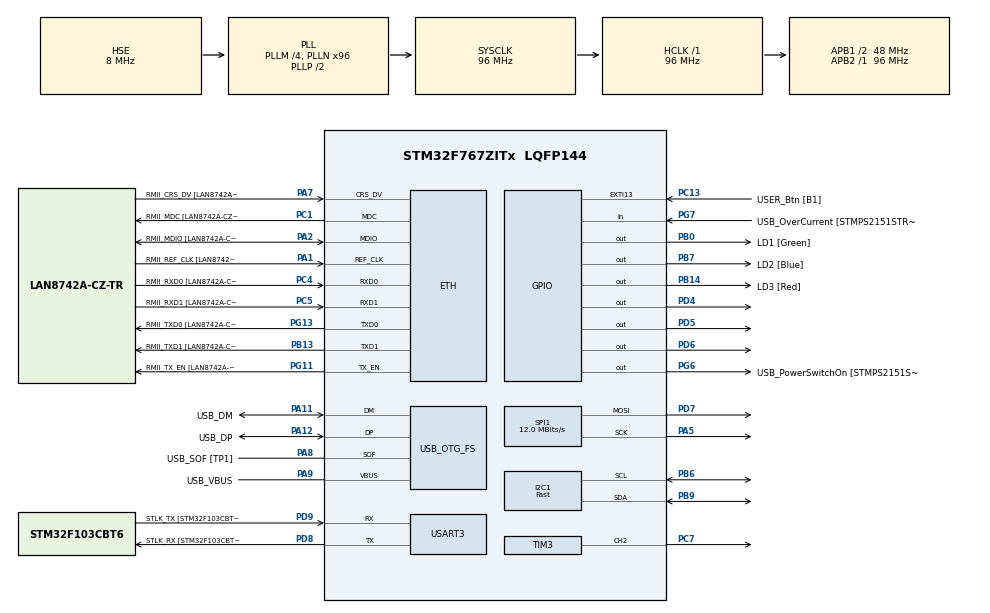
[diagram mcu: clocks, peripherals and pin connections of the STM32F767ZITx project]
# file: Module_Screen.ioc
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ETH.MediaInterface=ETH_MEDIA_INTERFACE_RMII
ETH.PHY_Name=LAN8742A_PHY_ADDRESS
ETH.PHY_Value=0
ETH.PhyAddress=0
I2C1.I2C_Speed_Mode=I2C_Fast
I2C1.Speed=150
I2C1.Timing=0x004036FF
Mcu.Family=STM32F7
Mcu.Name=STM32F767ZITx
Mcu.Package=LQFP144
NVIC.PriorityGroup=NVIC_PRIORITYGROUP_4
PA1.GPIO_Label=RMII_REF_CLK [LAN8742A-CZ-TR_REFCLK0]
PA1.Mode=RMII
PA1.Signal=ETH_REF_CLK
PA10.GPIO_Label=USB_ID
PA10.Signal=USB_OTG_FS_ID
PA11.GPIO_Label=USB_DM
PA11.Mode=Device_Only
PA11.Signal=USB_OTG_FS_DM
PA12.GPIO_Label=USB_DP
PA12.Mode=Device_Only
PA12.Signal=USB_OTG_FS_DP
PA13.GPIO_Label=TMS
PA13.Mode=Serial_Wire
PA13.Signal=SYS_JTMS-SWDIO
PA14.GPIO_Label=TCK
PA14.Mode=Serial_Wire
PA14.Signal=SYS_JTCK-SWCLK
PA2.GPIO_Label=RMII_MDIO [LAN8742A-CZ-TR_MDIO]
PA2.Mode=RMII
PA2.Signal=ETH_MDIO
PA5.Mode=TX_Only_Simplex_Unidirect_Master
PA5.Signal=SPI1_SCK
PA7.GPIO_Label=RMII_CRS_DV [LAN8742A-CZ-TR_CRS_DV]
PA7.Mode=RMII
PA7.Signal=ETH_CRS_DV
PA8.GPIO_Label=USB_SOF [TP1]
PA8.Mode=Activate_SOF_FS
PA8.Signal=USB_OTG_FS_SOF
PA9.GPIO_Label=USB_VBUS
PA9.Mode=Activate_VBUS
PA9.Signal=USB_OTG_FS_VBUS
PB0.GPIO_Label=LD1 [Green]
PB0.Signal=GPIO_Output
PB13.GPIO_Label=RMII_TXD1 [LAN8742A-CZ-TR_TXD1]
PB13.Mode=RMII
PB13.Signal=ETH_TXD1
PB14.GPIO_Label=LD3 [Red]
PB14.Signal=GPIO_Output
PB3.GPIO_Label=SWO
PB3.Signal=SYS_JTDO-SWO
PB6.Mode=I2C
PB6.Signal=I2C1_SCL
PB7.GPIO_Label=LD2 [Blue]
PB7.Signal=GPIO_Output
PB9.Mode=I2C
PB9.Signal=I2C1_SDA
PC1.GPIO_Label=RMII_MDC [LAN8742A-CZ-TR_MDC]
PC1.Mode=RMII
PC1.Signal=ETH_MDC
PC13.GPIO_Label=USER_Btn [B1]
PC13.Signal=GPXTI13
PC14/OSC32_IN.Mode=LSE-External-Oscillator
PC14/OSC32_IN.Signal=RCC_OSC32_IN
PC15/OSC32_OUT.Mode=LSE-External-Oscillator
PC15/OSC32_OUT.Signal=RCC_OSC32_OUT
PC4.GPIO_Label=RMII_RXD0 [LAN8742A-CZ-TR_RXD0]
PC4.Mode=RMII
PC4.Signal=ETH_RXD0
PC5.GPIO_Label=RMII_RXD1 [LAN8742A-CZ-TR_RXD1]
PC5.Mode=RMII
PC5.Signal=ETH_RXD1
PC7.Signal=S_TIM3_CH2
PD4.Signal=GPIO_Output
PD5.Signal=GPIO_Output
PD6.Signal=GPIO_Output
PD7.Mode=TX_Only_Simplex_Unidirect_Master
PD7.Signal=SPI1_MOSI
PD8.GPIO_Label=STLK_RX [STM32F103CBT6_PA3]
PD8.Mode=Asynchronous
PD8.Signal=USART3_TX
PD9.GPIO_Label=STLK_TX [STM32F103CBT6_PA2]
PD9.Mode=Asynchronous
PD9.Signal=USART3_RX
PG11.GPIO_Label=RMII_TX_EN [LAN8742A-CZ-TR_TXEN]
PG11.Mode=RMII
PG11.Signal=ETH_TX_EN
PG13.GPIO_Label=RMII_TXD0 [LAN8742A-CZ-TR_TXD0]
PG13.Mode=RMII
PG13.Signal=ETH_TXD0
PG6.GPIO_Label=USB_PowerSwitchOn [STMPS2151STR_EN]
PG6.Signal=GPIO_Output
PG7.GPIO_Label=USB_OverCurrent [STMPS2151STR_FAULT]
PG7.Signal=GPIO_Input
PH0/OSC_IN.GPIO_Label=MCO [STM32F103CBT6_PA8]
PH0/OSC_IN.Mode=HSE-External-Clock-Source
PH0/OSC_IN.Signal=RCC_OSC_IN
PH1/OSC_OUT.Mode=HSE-External-Clock-Source
PH1/OSC_OUT.Signal=RCC_OSC_OUT
ProjectManager.HeapSize=0x200
ProjectManager.StackSize=0x400
ProjectManager.TargetToolchain=STM32CubeIDE
RCC.48MHZClocksFreq_Value=24000000
RCC.AHBFreq_Value=96000000
RCC.APB1CLKDivider=RCC_HCLK_DIV2
RCC.APB1Freq_Value=48000000
RCC.APB1TimFreq_Value=96000000
RCC.APB2Freq_Value=96000000
RCC.APB2TimFreq_Value=96000000
RCC.CortexFreq_Value=96000000
RCC.HCLKFreq_Value=96000000
RCC.HSE_VALUE=8000000
RCC.HSI_VALUE=16000000
RCC.PLLM=4
RCC.PLLMUL=RCC_PLL_MUL9
RCC.PLLN=96
RCC.PLLQ=4
RCC.PRESCALERUSB=RCC_USBCLKSOURCE_PLL_DIV1_5
RCC.SYSCLKFreq_VALUE=96000000
RCC.SYSCLKSource=RCC_SYSCLKSOURCE_PLLCLK
RCC.SYSCLKSourceVirtual=RCC_SYSCLKSOURCE_PLLCLK
RCC.USBFreq_Value=48000000
RCC.VCOOutputFreq_Value=192000000
SH.S_TIM3_CH2.0=TIM3_CH2,PWM Generation2 CH2
SPI1.BaudRatePrescaler=SPI_BAUDRATEPRESCALER_8
SPI1.CalculateBaudRate=12.0 MBits/s
SPI1.DataSize=SPI_DATASIZE_8BIT
SPI1.Direction=SPI_DIRECTION_2LINES
SPI1.FirstBit=SPI_FIRSTBIT_MSB
SPI1.Mode=SPI_MODE_MASTER
SPI1.VirtualType=VM_MASTER
TIM3.Channel-PWM\ Generation2\ CH2=TIM_CHANNEL_2
USART3.VirtualMode-Asynchronous=VM_ASYNC
USB_OTG_FS.VirtualMode=Device_Only
board=NUCLEO-F767ZI

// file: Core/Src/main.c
/* USER CODE BEGIN Header */
/**
  ******************************************************************************
  * @file           : main.c
  * @brief          : Main program body
  ******************************************************************************
  * @attention
  *
  * <h2><center>&copy; Copyright (c) 2020 STMicroelectronics.
  * All rights reserved.</center></h2>
  *
  * This software component is licensed by ST under BSD 3-Clause license,
  * the "License"; You may not use this file except in compliance with the
  * License. You may obtain a copy of the License at:
  *                        opensource.org/licenses/BSD-3-Clause
  *
  ******************************************************************************
  */
/* USER CODE END Header */
#include "main.h"

/* USER CODE BEGIN Includes */
#include "../User/GUI_DEV/GUI_Paint.h"
#include "../User/Fonts/fonts.h"
#include "../User/image/image.h"
#include "../User/LCD/LCD_1in28.h"
#include "../User/example/LCD_Test.h"
/* USER CODE END Includes */

/* USER CODE BEGIN PD */
#define ADDR_SPI_I2C (0x50)
/* USER CODE END PD */

ETH_HandleTypeDef heth;

I2C_HandleTypeDef hi2c1;

SPI_HandleTypeDef hspi1;

TIM_HandleTypeDef htim3;

UART_HandleTypeDef huart3;

PCD_HandleTypeDef hpcd_USB_OTG_FS;

void SystemClock_Config(void);
static void MX_GPIO_Init(void);
static void MX_ETH_Init(void);
static void MX_USART3_UART_Init(void);
static void MX_USB_OTG_FS_PCD_Init(void);
static void MX_SPI1_Init(void);
static void MX_TIM3_Init(void);
static void MX_I2C1_Init(void);

int main(void)
{

  /* MCU Configuration--------------------------------------------------------*/

  /* Reset of all peripherals, Initializes the Flash interface and the Systick. */
  HAL_Init();

  /* Configure the system clock */
  SystemClock_Config();

  /* Initialize all configured peripherals */
  MX_GPIO_Init();
  MX_ETH_Init();
  MX_USART3_UART_Init();
  MX_USB_OTG_FS_PCD_Init();
  MX_SPI1_Init();
  MX_TIM3_Init();
  MX_I2C1_Init();
  /* USER CODE BEGIN 2 */

  uint8_t buffer[2];

  LCD_1IN28_SendCommand(0x28);
  buffer[0] = 0xF0;
  buffer[1] = 0x00;
  HAL_I2C_Master_Transmit(&hi2c1, ADDR_SPI_I2C, buffer, 2, 0xFFFFFF);
  LCD_1in28_test_I2C();

  LCD_1IN28_Display(gImage_monaLCD);

  /* USER CODE END 2 */

  /* Infinite loop */
  /* USER CODE BEGIN WHILE */
  while (1)
  {

	  HAL_Delay(100);
	  LCD_1IN28_SendCommand(0x29);  //MAKE THE SCREEN BLINK
	  HAL_Delay(100);

	  LCD_1IN28_SendCommand(0x28);
	  HAL_Delay(100);
    /* USER CODE END WHILE */

  }
}

void SystemClock_Config(void)
{
  RCC_OscInitTypeDef RCC_OscInitStruct = {0};
  RCC_ClkInitTypeDef RCC_ClkInitStruct = {0};

  /** Configure LSE Drive Capability
  */
  HAL_PWR_EnableBkUpAccess();
  /** Configure the main internal regulator output voltage
  */
  __HAL_RCC_PWR_CLK_ENABLE();
  __HAL_PWR_VOLTAGESCALING_CONFIG(PWR_REGULATOR_VOLTAGE_SCALE3);
  /** Initializes the RCC Oscillators according to the specified parameters
  * in the RCC_OscInitTypeDef structure.
  */
  RCC_OscInitStruct.OscillatorType = RCC_OSCILLATORTYPE_HSE;
  RCC_OscInitStruct.HSEState = RCC_HSE_BYPASS;
  RCC_OscInitStruct.PLL.PLLState = RCC_PLL_ON;
  RCC_OscInitStruct.PLL.PLLSource = RCC_PLLSOURCE_HSE;
  RCC_OscInitStruct.PLL.PLLM = 4;
  RCC_OscInitStruct.PLL.PLLN = 96;
  RCC_OscInitStruct.PLL.PLLP = RCC_PLLP_DIV2;
  RCC_OscInitStruct.PLL.PLLQ = 4;
  RCC_OscInitStruct.PLL.PLLR = 2;
  if (HAL_RCC_OscConfig(&RCC_OscInitStruct) != HAL_OK)
  {
    Error_Handler();
  }
  /** Activate the Over-Drive mode
  */
  if (HAL_PWREx_EnableOverDrive() != HAL_OK)
  {
    Error_Handler();
  }
  /** Initializes the CPU, AHB and APB buses clocks
  */
  RCC_ClkInitStruct.ClockType = RCC_CLOCKTYPE_HCLK|RCC_CLOCKTYPE_SYSCLK
                              |RCC_CLOCKTYPE_PCLK1|RCC_CLOCKTYPE_PCLK2;
  RCC_ClkInitStruct.SYSCLKSource = RCC_SYSCLKSOURCE_PLLCLK;
  RCC_ClkInitStruct.AHBCLKDivider = RCC_SYSCLK_DIV1;
  RCC_ClkInitStruct.APB1CLKDivider = RCC_HCLK_DIV2;
  RCC_ClkInitStruct.APB2CLKDivider = RCC_HCLK_DIV1;

  if (HAL_RCC_ClockConfig(&RCC_ClkInitStruct, FLASH_LATENCY_3) != HAL_OK)
  {
    Error_Handler();
  }
}

static void MX_ETH_Init(void)
{

   static uint8_t MACAddr[6];

  heth.Instance = ETH;
  heth.Init.AutoNegotiation = ETH_AUTONEGOTIATION_ENABLE;
  heth.Init.Speed = ETH_SPEED_100M;
  heth.Init.DuplexMode = ETH_MODE_FULLDUPLEX;
  heth.Init.PhyAddress = LAN8742A_PHY_ADDRESS;
  MACAddr[0] = 0x00;
  MACAddr[1] = 0x80;
  MACAddr[2] = 0xE1;
  MACAddr[3] = 0x00;
  MACAddr[4] = 0x00;
  MACAddr[5] = 0x00;
  heth.Init.MACAddr = &MACAddr[0];
  heth.Init.RxMode = ETH_RXPOLLING_MODE;
  heth.Init.ChecksumMode = ETH_CHECKSUM_BY_HARDWARE;
  heth.Init.MediaInterface = ETH_MEDIA_INTERFACE_RMII;

  if (HAL_ETH_Init(&heth) != HAL_OK)
  {
    Error_Handler();
  }

}

static void MX_I2C1_Init(void)
{

  hi2c1.Instance = I2C1;
  hi2c1.Init.Timing = 0x004036FF;
  hi2c1.Init.OwnAddress1 = 0;
  hi2c1.Init.AddressingMode = I2C_ADDRESSINGMODE_7BIT;
  hi2c1.Init.DualAddressMode = I2C_DUALADDRESS_DISABLE;
  hi2c1.Init.OwnAddress2 = 0;
  hi2c1.Init.OwnAddress2Masks = I2C_OA2_NOMASK;
  hi2c1.Init.GeneralCallMode = I2C_GENERALCALL_DISABLE;
  hi2c1.Init.NoStretchMode = I2C_NOSTRETCH_DISABLE;
  if (HAL_I2C_Init(&hi2c1) != HAL_OK)
  {
    Error_Handler();
  }
  /** Configure Analogue filter
  */
  if (HAL_I2CEx_ConfigAnalogFilter(&hi2c1, I2C_ANALOGFILTER_ENABLE) != HAL_OK)
  {
    Error_Handler();
  }
  /** Configure Digital filter
  */
  if (HAL_I2CEx_ConfigDigitalFilter(&hi2c1, 0) != HAL_OK)
  {
    Error_Handler();
  }

}

static void MX_SPI1_Init(void)
{

  /* SPI1 parameter configuration*/
  hspi1.Instance = SPI1;
  hspi1.Init.Mode = SPI_MODE_MASTER;
  hspi1.Init.Direction = SPI_DIRECTION_2LINES;
  hspi1.Init.DataSize = SPI_DATASIZE_8BIT;
  hspi1.Init.CLKPolarity = SPI_POLARITY_LOW;
  hspi1.Init.CLKPhase = SPI_PHASE_1EDGE;
  hspi1.Init.NSS = SPI_NSS_SOFT;
  hspi1.Init.BaudRatePrescaler = SPI_BAUDRATEPRESCALER_8;
  hspi1.Init.FirstBit = SPI_FIRSTBIT_MSB;
  hspi1.Init.TIMode = SPI_TIMODE_DISABLE;
  hspi1.Init.CRCCalculation = SPI_CRCCALCULATION_DISABLE;
  hspi1.Init.CRCPolynomial = 7;
  hspi1.Init.CRCLength = SPI_CRC_LENGTH_DATASIZE;
  hspi1.Init.NSSPMode = SPI_NSS_PULSE_ENABLE;
  if (HAL_SPI_Init(&hspi1) != HAL_OK)
  {
    Error_Handler();
  }

}

static void MX_TIM3_Init(void)
{

  TIM_MasterConfigTypeDef sMasterConfig = {0};
  TIM_OC_InitTypeDef sConfigOC = {0};

  htim3.Instance = TIM3;
  htim3.Init.Prescaler = 0;
  htim3.Init.CounterMode = TIM_COUNTERMODE_UP;
  htim3.Init.Period = 65535;
  htim3.Init.ClockDivision = TIM_CLOCKDIVISION_DIV1;
  htim3.Init.AutoReloadPreload = TIM_AUTORELOAD_PRELOAD_DISABLE;
  if (HAL_TIM_PWM_Init(&htim3) != HAL_OK)
  {
    Error_Handler();
  }
  sMasterConfig.MasterOutputTrigger = TIM_TRGO_RESET;
  sMasterConfig.MasterSlaveMode = TIM_MASTERSLAVEMODE_DISABLE;
  if (HAL_TIMEx_MasterConfigSynchronization(&htim3, &sMasterConfig) != HAL_OK)
  {
    Error_Handler();
  }
  sConfigOC.OCMode = TIM_OCMODE_PWM1;
  sConfigOC.Pulse = 0;
  sConfigOC.OCPolarity = TIM_OCPOLARITY_HIGH;
  sConfigOC.OCFastMode = TIM_OCFAST_DISABLE;
  if (HAL_TIM_PWM_ConfigChannel(&htim3, &sConfigOC, TIM_CHANNEL_2) != HAL_OK)
  {
    Error_Handler();
  }
  HAL_TIM_MspPostInit(&htim3);

}

static void MX_USART3_UART_Init(void)
{

  huart3.Instance = USART3;
  huart3.Init.BaudRate = 115200;
  huart3.Init.WordLength = UART_WORDLENGTH_8B;
  huart3.Init.StopBits = UART_STOPBITS_1;
  huart3.Init.Parity = UART_PARITY_NONE;
  huart3.Init.Mode = UART_MODE_TX_RX;
  huart3.Init.HwFlowCtl = UART_HWCONTROL_NONE;
  huart3.Init.OverSampling = UART_OVERSAMPLING_16;
  huart3.Init.OneBitSampling = UART_ONE_BIT_SAMPLE_DISABLE;
  huart3.AdvancedInit.AdvFeatureInit = UART_ADVFEATURE_NO_INIT;
  if (HAL_UART_Init(&huart3) != HAL_OK)
  {
    Error_Handler();
  }

}

static void MX_USB_OTG_FS_PCD_Init(void)
{

  hpcd_USB_OTG_FS.Instance = USB_OTG_FS;
  hpcd_USB_OTG_FS.Init.dev_endpoints = 6;
  hpcd_USB_OTG_FS.Init.speed = PCD_SPEED_FULL;
  hpcd_USB_OTG_FS.Init.dma_enable = DISABLE;
  hpcd_USB_OTG_FS.Init.phy_itface = PCD_PHY_EMBEDDED;
  hpcd_USB_OTG_FS.Init.Sof_enable = ENABLE;
  hpcd_USB_OTG_FS.Init.low_power_enable = DISABLE;
  hpcd_USB_OTG_FS.Init.lpm_enable = DISABLE;
  hpcd_USB_OTG_FS.Init.vbus_sensing_enable = ENABLE;
  hpcd_USB_OTG_FS.Init.use_dedicated_ep1 = DISABLE;
  if (HAL_PCD_Init(&hpcd_USB_OTG_FS) != HAL_OK)
  {
    Error_Handler();
  }

}

static void MX_GPIO_Init(void)
{
  GPIO_InitTypeDef GPIO_InitStruct = {0};

  /* GPIO Ports Clock Enable */
  __HAL_RCC_GPIOC_CLK_ENABLE();
  __HAL_RCC_GPIOH_CLK_ENABLE();
  __HAL_RCC_GPIOA_CLK_ENABLE();
  __HAL_RCC_GPIOB_CLK_ENABLE();
  __HAL_RCC_GPIOD_CLK_ENABLE();
  __HAL_RCC_GPIOG_CLK_ENABLE();

  /*Configure GPIO pin Output Level */
  HAL_GPIO_WritePin(GPIOB, LD1_Pin|LD3_Pin|LD2_Pin, GPIO_PIN_RESET);

  /*Configure GPIO pin Output Level */
  HAL_GPIO_WritePin(USB_PowerSwitchOn_GPIO_Port, USB_PowerSwitchOn_Pin, GPIO_PIN_RESET);

  /*Configure GPIO pin Output Level */
  HAL_GPIO_WritePin(GPIOD, GPIO_PIN_4|GPIO_PIN_5|GPIO_PIN_6, GPIO_PIN_RESET);

  /*Configure GPIO pin : USER_Btn_Pin */
  GPIO_InitStruct.Pin = USER_Btn_Pin;
  GPIO_InitStruct.Mode = GPIO_MODE_IT_RISING;
  GPIO_InitStruct.Pull = GPIO_NOPULL;
  HAL_GPIO_Init(USER_Btn_GPIO_Port, &GPIO_InitStruct);

  /*Configure GPIO pins : LD1_Pin LD3_Pin LD2_Pin */
  GPIO_InitStruct.Pin = LD1_Pin|LD3_Pin|LD2_Pin;
  GPIO_InitStruct.Mode = GPIO_MODE_OUTPUT_PP;
  GPIO_InitStruct.Pull = GPIO_NOPULL;
  GPIO_InitStruct.Speed = GPIO_SPEED_FREQ_LOW;
  HAL_GPIO_Init(GPIOB, &GPIO_InitStruct);

  /*Configure GPIO pin : USB_PowerSwitchOn_Pin */
  GPIO_InitStruct.Pin = USB_PowerSwitchOn_Pin;
  GPIO_InitStruct.Mode = GPIO_MODE_OUTPUT_PP;
  GPIO_InitStruct.Pull = GPIO_NOPULL;
  GPIO_InitStruct.Speed = GPIO_SPEED_FREQ_LOW;
  HAL_GPIO_Init(USB_PowerSwitchOn_GPIO_Port, &GPIO_InitStruct);

  /*Configure GPIO pin : USB_OverCurrent_Pin */
  GPIO_InitStruct.Pin = USB_OverCurrent_Pin;
  GPIO_InitStruct.Mode = GPIO_MODE_INPUT;
  GPIO_InitStruct.Pull = GPIO_NOPULL;
  HAL_GPIO_Init(USB_OverCurrent_GPIO_Port, &GPIO_InitStruct);

  /*Configure GPIO pins : PD4 PD5 PD6 */
  GPIO_InitStruct.Pin = GPIO_PIN_4|GPIO_PIN_5|GPIO_PIN_6;
  GPIO_InitStruct.Mode = GPIO_MODE_OUTPUT_PP;
  GPIO_InitStruct.Pull = GPIO_NOPULL;
  GPIO_InitStruct.Speed = GPIO_SPEED_FREQ_LOW;
  HAL_GPIO_Init(GPIOD, &GPIO_InitStruct);

}

void Error_Handler(void)
{
}
